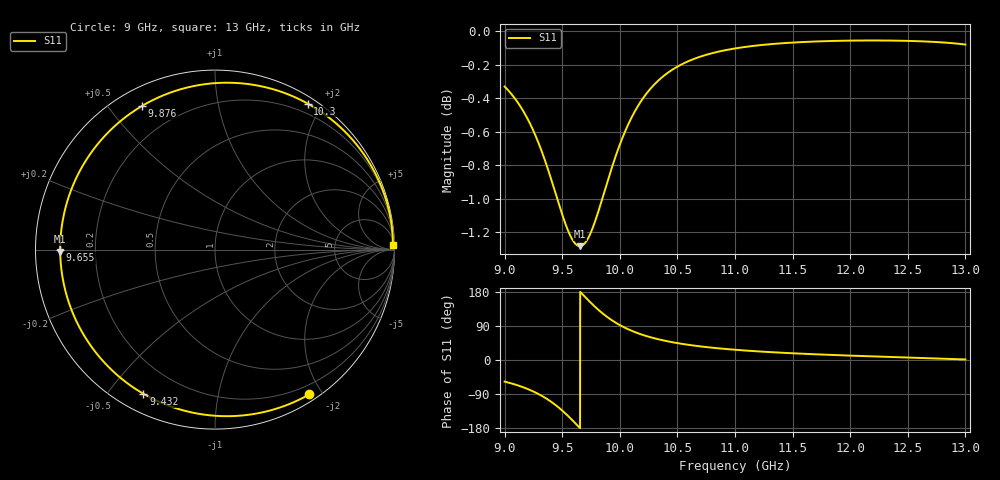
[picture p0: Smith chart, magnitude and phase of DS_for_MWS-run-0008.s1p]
! TOUCHSTONE file generated by CST DESIGN STUDIO
! Date and time: Tue Feb  4 18:11:17 2025
! Project name: C:\Work\MatlabApps\UnitCellOptimizationMatlab\CST\unitcell.cst
! Tree item: Tasks\Sweep1\SPara1\S-Parameters
! Header version: 2024
! Port assignment regex: !\s*Touchstone port\s*([0-9]+)\s*=\s*(CST MWS port|CST DES external port|CST DES block port)\s*(.+)\s* \(\"(.*)\"\)(\s*mode\s*([0-9]+))?.*
! Touchstone port assignment:
! Touchstone port 1 = CST DES external port 1 ("")
# GHz S MA R 50
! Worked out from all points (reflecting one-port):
!   4001 points, 9 GHz to 13 GHz, reference 50 ohm
!   lowest |S11| = -1.3 dB at 9.653 GHz (marker M1), VSWR 13.56, Z = 3.69 - j0.331 ohm
!   phase of S11 starts at -57 deg and turns -302 deg over the sweep
!   S11 on the Smith chart (normalised r, x): 9 GHz: 0.08, -1.84; 9.432 GHz: 0.08, -0.62; 9.655 GHz: 0.07, -0.00; 9.876 GHz: 0.07, +0.61; 10.3 GHz: 0.08, +1.82; 13 GHz: 27, +71
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9  0.9626 -57.0
9.109  0.9527 -66.4
9.218  0.9388 -78.8
9.336  0.9179 -96.9
9.386  0.9073 -106.4
9.432  0.8969 -116.4
9.5  0.8816 -133.4
9.582  0.8673 -157.0
9.618  0.8638 -168.2
9.653  0.8626 -179.2
9.655  0.8626 -179.9
9.701  0.8648 165.6
9.749  0.8708 150.9
9.813  0.8833 132.7
9.876  0.8978 116.9
9.935  0.9113 104.1
10  0.9249 92.2
10.069  0.9372 81.6
10.14  0.9476 72.6
10.215  0.9563 64.7
10.296  0.9637 57.6
10.5  0.9758 44.6
10.719  0.983 35.2
11  0.9881 27.0
11.5  0.9921 17.7
12  0.9934 11.5
12.5  0.9932 6.5
13  0.9907 1.4
